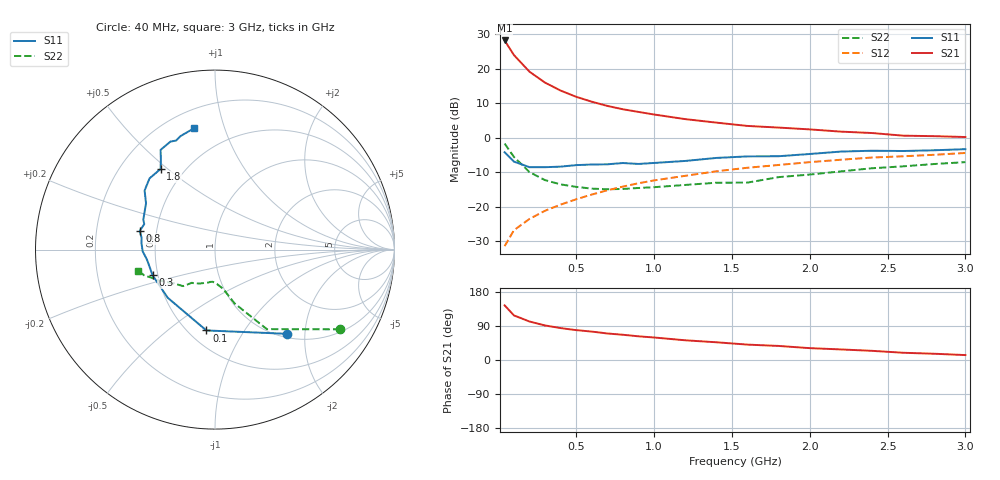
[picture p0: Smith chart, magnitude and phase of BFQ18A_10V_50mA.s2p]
! Filename:  BFQ18AC.S2P  Version:  2.0
! Philips part #: BFQ18A  Date: May 1990
! Bias condition: Vce=10V, Ic=50mA
#  MHz  S  MA  R  50
! Freq  S11  S21  S12  S22  !GUM [dB]
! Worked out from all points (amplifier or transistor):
!   21 points, 40 MHz to 3 GHz, reference 50 ohm
!   highest |S21| = 28.2 dB at 40 MHz (marker M1)
!   |S21| within 3 dB of that: start of sweep to 82.51 MHz
!   unconditionally stable (mu >= 1): 526.3 MHz to 763.2 MHz
!   at 300 MHz: K = 0.92, MSG = 18.5 dB, |S12| = -21.1 dB
!   at 1 GHz: K = 0.98, MSG = 9.5 dB, |S12| = -12.3 dB
!   at 3 GHz: K = 0.82, MSG = 2.3 dB, |S12| = -4.4 dB
!   S11 on the Smith chart (normalised r, x): 40 MHz: 1.07, -1.63; 100 MHz: 0.61, -0.69; 300 MHz: 0.47, -0.16; 800 MHz: 0.40, +0.10; 1.8 GHz: 0.37, +0.47; 3 GHz: 0.31, +0.79
40  0.619 -49.3  25.74 144.2  0.027 67.4  0.827 -32.5
100  0.453 -96.1  15.81 117.7  0.046 55.6  0.529 -56.9
200  0.376 -134.5  9.077 101.5  0.067 58.4  0.319 -70.0
300  0.376 -157.7  6.3 91.1  0.088 62.7  0.244 -75.8
400  0.383 -171.6  4.839 84.2  0.108 65.0  0.212 -80.8
500  0.403 -178.6  3.931 78.8  0.129 66.3  0.195 -85.7
600  0.411 175.2  3.337 75.0  0.151 67.4  0.184 -90.6
700  0.414 170.9  2.902 70.0  0.174 67.9  0.18 -94.2
800  0.432 166.0  2.594 66.6  0.197 67.8  0.182 -98.4
900  0.419 160.2  2.375 62.5  0.22 67.0  0.188 -102.0
1000  0.433 157.3  2.179 59.4  0.242 66.2  0.193 -106.3
1200  0.463 146.1  1.868 52.0  0.282 64.8  0.208 -114.6
1400  0.512 140.0  1.663 46.8  0.328 63.6  0.224 -123.7
1600  0.539 132.6  1.488 40.6  0.369 60.1  0.225 -124.8
1800  0.542 124.0  1.409 37.1  0.405 58.8  0.27 -131.1
2000  0.584 121.1  1.326 31.3  0.445 56.9  0.294 -139.7
2200  0.633 118.6  1.231 27.9  0.482 55.1  0.327 -146.6
2400  0.651 112.4  1.175 24.2  0.519 52.0  0.363 -152.0
2600  0.645 109.6  1.076 19.1  0.541 49.4  0.387 -156.2
2800  0.661 106.9  1.058 16.5  0.569 47.6  0.418 -159.6
3000  0.686 99.8  1.028 13.0  0.604 44.8  0.445 -164.8
